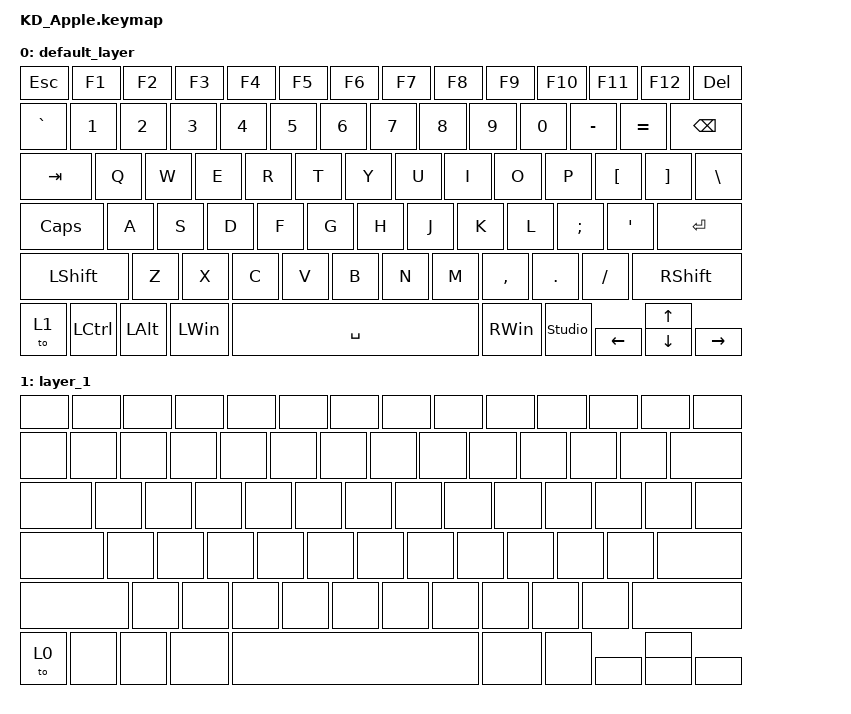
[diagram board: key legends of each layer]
#include <behaviors.dtsi>
#include <dt-bindings/zmk/keys.h>
#include <dt-bindings/zmk/rgb.h>

/ {
    keymap {
        compatible = "zmk,keymap";

        default_layer {
            bindings = <
                &kp ESC         &kp F1          &kp F2           &kp F3     &kp F4     &kp F5    &kp F6    &kp F7        &kp F8     &kp F9      &kp F10        &kp F11         &kp F12    &kp DEL 
                &kp GRAVE       &kp N1          &kp N2           &kp N3     &kp N4     &kp N5    &kp N6    &kp N7        &kp N8     &kp N9      &kp N0         &kp MINUS       &kp EQUAL  &kp BACKSPACE
                &kp TAB         &kp Q           &kp W            &kp E      &kp R      &kp T     &kp Y     &kp U         &kp I      &kp O       &kp P          &kp LBKT        &kp RBKT   &kp BACKSLASH 
                &kp CAPS        &kp A           &kp S            &kp D      &kp F      &kp G     &kp H     &kp J         &kp K      &kp L       &kp SEMICOLON  &kp APOSTROPHE  &kp ENTER 
                &kp LSHIFT      &kp Z           &kp X            &kp C      &kp V      &kp B     &kp N     &kp M         &kp COMMA  &kp PERIOD  &kp SLASH      &kp RSHIFT 
                &to 1           &kp LCTRL       &kp LALT         &kp LWIN   &kp SPACE  &kp RWIN  &studio_unlock  &kp UP_ARROW 
                &kp LEFT_ARROW  &kp DOWN_ARROW  &kp RIGHT_ARROW
            >;
        };

        layer_1 {
            bindings = <
                &none  &none  &none  &none  &none  &none  &none  &none  &none  &none  &none  &none  &none  &none 
                &none  &none  &none  &none  &none  &none  &none  &none  &none  &none  &none  &none  &none  &none 
                &none  &none  &none  &none  &none  &none  &none  &none  &none  &none  &none  &none  &none  &none 
                &none  &none  &none  &none  &none  &none  &none  &none  &none  &none  &none  &none  &none 
                &none  &none  &none  &none  &none  &none  &none  &none  &none  &none  &none  &none  
                &to 0  &none  &none  &none  &none  &none  &none  &none 
                &none  &none  &none 
            >;
        };
    };
    
    macros {
        lm: lm {
            compatible = "zmk,behavior-macro-two-param";
            #binding-cells = <2>;
            wait-ms = <0>;
            tap-ms = <0>;
            bindings
                = <&macro_press &to 1>
                , <&macro_tap &rgb_ug RGB_COLOR_HSB(128,100,100)>
                , <&macro_pause_for_release>
                , <&macro_release &to 1>
                , <&macro_tap &rgb_ug RGB_COLOR_HSB(300,100,50)>;
        };
    };
};
